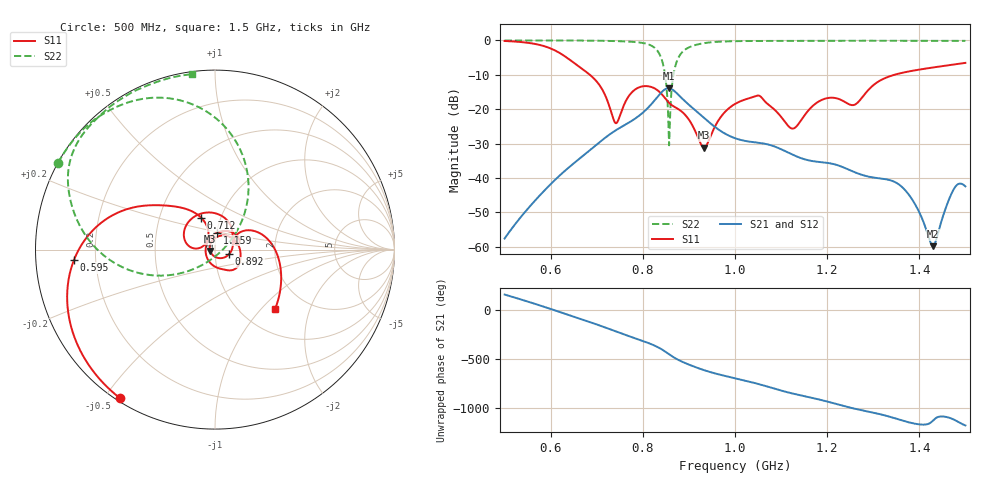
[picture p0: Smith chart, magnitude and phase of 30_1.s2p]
! TOUCHSTONE file generated by CST MICROWAVE STUDIO
! Date and time: Fri Oct  2 18:36:37 2020
! Project name: Scenario_1_Free_Space_out_of_line.cst
! Parameters = {Lambda=346.42; Step_1=17.321; dy1=-155.249; dx1=173; L_HA=400; MT=2.54; Rad_Dielectric=30; Rad_Lower=7.3; Rad_Upper=30; a_HA=580; a_WG=246; b_HA=500; b_WG=121; c_HA=0; c_WG=187; d_feed=85; h_feed=15; h_lower=18; h_upper=40}
! Header version: 2018
! Port assignment regex: !\s*Touchstone port\s*([0-9]+)\s*=\s*(CST MWS port|CST DS port)\s*([0-9]+|Zmin|Zmax)\s*\(\"(.*)\"\)(\s*mode\s*([0-9]+))?.*
! Touchstone port assignment:
! Touchstone port 1 = CST MWS port 1 ("")
! Touchstone port 2 = CST MWS port 2 ("")
# GHz S DB R 50
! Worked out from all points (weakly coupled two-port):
!   1003 points, 500 MHz to 1.5 GHz, reference 50 ohm
!   highest |S21| = -13.88 dB at 856 MHz (marker M1); lowest = -59.9 dB at 1.43 GHz (marker M2)
!   lowest |S11| = -31.2 dB at 933 MHz (marker M3), VSWR 1.06, Z = 47.4 - j0.795 ohm
!   |S11| at or under -10 dB: 685 MHz to 1.346 GHz (661 MHz wide, 65.1 % of centre)
!   |S22| runs from -30.5 to 0.0 dB; largest |S21 - S12| = 3.3e-06
!   S11 on the Smith chart (normalised r, x): 500 MHz: 0.01, -0.55; 595 MHz: 0.12, -0.04; 712 MHz: 0.81, +0.30; 892 MHz: 1.17, -0.06; 1.159 GHz: 1.01, +0.19; 1.5 GHz: 1.40, -1.20
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0.5  -0.16 -122.8  -57.63 161.6  -57.63 161.6  -0.01 151.1
0.595  -2.08 -175.9  -42.49 21.5  -42.49 21.5  -0.02 144.4
0.667  -8.15 140.8  -33.93 -92.8  -33.93 -92.8  -0.04 138.2
0.712  -14.30 113.4  -28.98 -165.8  -28.98 -165.8  -0.10 133.1
0.742  -24.09 146.3  -26.09 141.8  -26.09 141.8  -0.20 128.7
0.783  -14.30 154.4  -22.77 72.7  -22.77 72.7  -0.46 119.5
0.834  -14.74 72.2  -16.08 -22.4  -16.08 -22.4  -3.48 83.9
0.856  -18.04 38.6  -13.88 -88.4  -13.88 -88.4  -26.51 4.5
0.87  -19.44 21.3  -14.90 -131.4  -14.90 -131.4  -7.71 -160.4
0.892  -21.69 -18.8  -17.76 177.6  -17.76 177.6  -2.65 172.6
0.933  -31.24 -162.2  -22.56 104.9  -22.56 104.9  -0.79 153.8
1  -18.49 28.7  -28.45 22.2  -28.45 22.2  -0.21 140.0
1.053  -16.11 -41.8  -29.82 -40.0  -29.82 -40.0  -0.15 133.7
1.124  -25.65 178.0  -33.19 -133.8  -33.19 -133.8  -0.11 127.5
1.159  -20.41 82.4  -34.87 -170.9  -34.87 -170.9  -0.10 124.6
1.167  -19.27 70.2  -35.09 -179.2  -35.09 -179.2  -0.10 124.0
1.259  -18.74 23.3  -38.31 70.0  -38.31 70.0  -0.08 116.9
1.334  -10.52 11.6  -40.58 -10.9  -40.58 -10.9  -0.10 111.3
1.382  -8.90 -8.4  -45.78 -76.3  -45.79 -76.3  -0.10 107.6
1.43  -7.86 -24.2  -59.87 -50.9  -59.87 -50.9  -0.10 103.8
1.473  -7.04 -37.0  -43.72 -38.1  -43.72 -38.1  -0.11 100.1
1.5  -6.53 -45.0  -42.47 -102.9  -42.47 -102.9  -0.13 97.6
